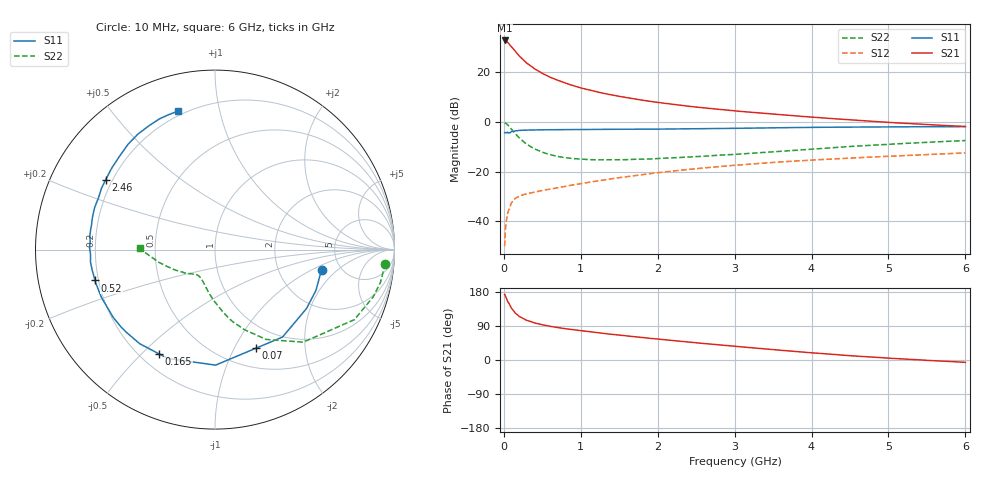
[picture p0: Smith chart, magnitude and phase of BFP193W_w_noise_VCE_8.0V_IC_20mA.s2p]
! Infineon Technologies  Discrete & RF Semiconductors
! BFP193W
! VCE = 8.0 V,  IC =  20 mA
! Common Emitter S-Parameters:  Jan 2016
# GHz  S  MA  R  50
!  f  S11  S21  S12  S22
! GHz  MAG  ANG  MAG  ANG  MAG  ANG  MAG  ANG
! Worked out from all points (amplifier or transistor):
!   210 points, 10 MHz to 6 GHz, reference 50 ohm
!   highest |S21| = 32.6 dB at 10 MHz (marker M1)
!   |S21| within 3 dB of that: start of sweep to 113 MHz
!   unconditionally stable (mu >= 1): 1.01 GHz to 4.669 GHz
!   at 185 MHz: K = 0.32, MSG = 28.5 dB, |S12| = -30.1 dB
!   at 1.52 GHz: K = 1.09, MAG = 14.4 dB, |S12| = -22.3 dB
!   at 6 GHz: K = 0.95, MSG = 5.3 dB, |S12| = -12.5 dB
!   lowest NFmin = 1.40 dB at 450 MHz
!   S11 on the Smith chart (normalised r, x): 10 MHz: 3.57, -1.27; 70 MHz: 0.72, -1.22; 165 MHz: 0.27, -0.57; 520 MHz: 0.19, -0.12; 2.46 GHz: 0.17, +0.28; 6 GHz: 0.18, +0.75
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0.01  0.6041 -10.8  42.67 173.4  0.0032 84.2  0.9521 -4.7
0.02  0.6067 -22.1  42.29 169.1  0.0067 79.7  0.9396 -11.2
0.03  0.6064 -32.8  41.54 164.2  0.0097 76.6  0.9202 -16.6
0.05  0.6156 -52.3  39.15 154.6  0.0146 69.1  0.8689 -26.7
0.07  0.5948 -67.5  35.85 148.1  0.0181 61.3  0.7954 -33.6
0.1  0.6436 -89.7  31.98 136.1  0.0238 54.1  0.7124 -46.4
0.15  0.6612 -113.5  25.64 123.3  0.0292 45.9  0.5754 -60.4
0.165  0.6594 -118.1  24.16 121.2  0.0301 44.5  0.5437 -62.9
0.2  0.6716 -128.7  20.85 115.0  0.0321 41.5  0.4745 -69.9
0.26  0.6782 -140.6  16.97 108.2  0.0347 39.3  0.3944 -78.2
0.3  0.6814 -146.5  14.9 104.5  0.0361 38.5  0.3509 -82.7
0.4  0.6865 -157.3  11.5 97.7  0.0387 38.6  0.2846 -91.3
0.52  0.6903 -165.6  9.038 92.1  0.0424 40.6  0.2394 -98.8
0.7  0.6973 -174.3  6.796 85.6  0.0475 43.5  0.2013 -107.2
1.02  0.6974 175.9  4.689 76.8  0.0579 48.2  0.1774 -116.9
1.4  0.7044 167.0  3.452 67.8  0.0719 51.2  0.1728 -124.2
2.02  0.7119 154.8  2.422 54.9  0.0957 52.3  0.184 -132.1
2.46  0.7229 147.4  2.002 46.3  0.1129 51.2  0.1987 -138.0
3.1  0.7408 137.0  1.602 34.6  0.1377 48.4  0.2271 -147.2
4.1  0.7746 122.7  1.208 17.6  0.1737 42.6  0.2888 -161.8
5.1  0.7916 112.3  0.952 3.8  0.2064 36.7  0.3602 -173.8
6  0.799 104.9  0.802 -6.2  0.2371 31.9  0.4198 178.9
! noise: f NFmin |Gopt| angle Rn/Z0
0.45  1.4  0.3  160  0.1
0.9  1.45  0.34  172  0.11
1.8  2.2  0.56  -148  0.2
